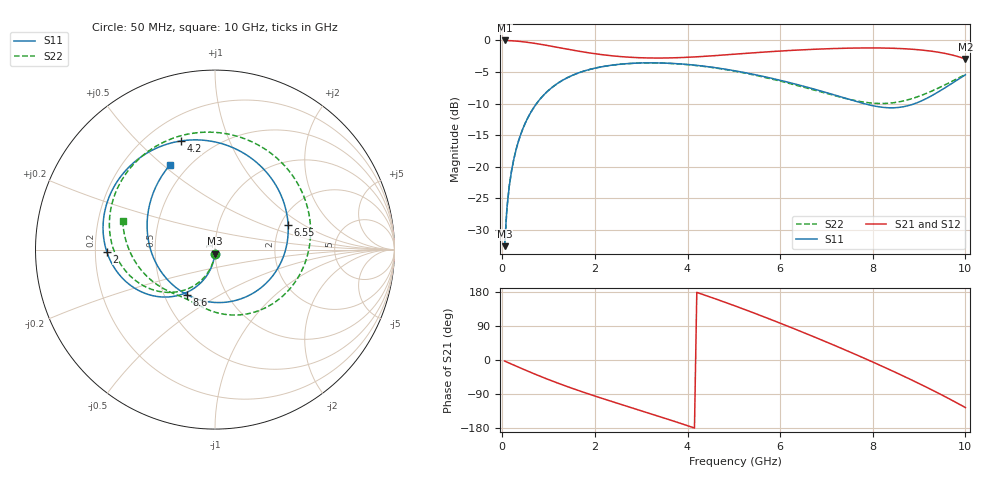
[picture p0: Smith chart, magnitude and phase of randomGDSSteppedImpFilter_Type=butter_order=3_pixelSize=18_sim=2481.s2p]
! freq	dB(S11)	phase(S11)	dB(S12)	phase(S12)
!  dB(S21)	phase(S21)	dB(S22)	phase(S22)
!S-par simulation data
#  GHz  S  DB  R 50
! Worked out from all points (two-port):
!   200 points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, 50 MHz to 10 GHz, reference 50 ohm
!   highest |S21| = -0.01 dB at 50 MHz (marker M1); lowest = -2.9 dB at 10 GHz (marker M2)
!   |S21| within 3 dB of the highest: start of sweep to end of sweep
!   lowest |S11| = -32.6 dB at 50 MHz (marker M3), VSWR 1.05, Z = 49.8 - j2.34 ohm
!   |S11| at or under -10 dB: start of sweep to 740.1 MHz; 7.808 GHz to 8.908 GHz (1.1 GHz wide, 13.2 % of centre)
!   |S22| runs from -32.6 to -3.6 dB; largest |S21 - S12| = 0
!   S11 on the Smith chart (normalised r, x): 50 MHz: 1.00, -0.05; 2 GHz: 0.25, -0.01; 4.2 GHz: 0.33, +0.68; 6.55 GHz: 2.21, +0.74; 8.6 GHz: 0.65, -0.36; 10 GHz: 0.40, +0.53
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0.05  -32.57 -92.7  -0.01 -2.8  -0.01 -2.8  -32.57 -93.0
0.1  -26.58 -95.5  -0.02 -5.5  -0.02 -5.5  -26.58 -96.1
0.2  -20.64 -100.7  -0.05 -10.9  -0.05 -10.9  -20.64 -102.0
0.5  -13.02 -115.8  -0.26 -26.8  -0.26 -26.8  -13.03 -118.9
1.1  -7.29 -143.6  -0.97 -56.4  -0.97 -56.4  -7.30 -150.5
1.75  -4.88 -169.8  -1.83 -84.9  -1.83 -84.9  -4.89 178.7
2  -4.39 -179.0  -2.11 -95.1  -2.11 -95.1  -4.40 167.5
2.65  -3.70 158.6  -2.61 -120.5  -2.61 -120.5  -3.71 139.2
3.4  -3.56 133.9  -2.79 -149.4  -2.79 -149.4  -3.58 106.3
4.2  -3.95 107.5  -2.59 178.4  -2.59 178.4  -3.98 69.0
5.05  -4.84 78.4  -2.16 141.6  -2.16 141.6  -4.91 25.8
5.85  -6.05 48.5  -1.75 104.4  -1.75 104.4  -6.17 -16.7
6.55  -7.34 18.5  -1.46 70.2  -1.46 70.2  -7.50 -52.7
6.7  -7.64 11.3  -1.41 62.7  -1.41 62.7  -7.80 -59.9
7.6  -9.58 -40.4  -1.21 16.2  -1.21 16.2  -9.50 -97.6
8  -10.33 -69.8  -1.19 -5.3  -1.19 -5.3  -9.93 -110.8
8.35  -10.67 -99.3  -1.22 -24.7  -1.22 -24.7  -9.94 -121.4
8.6  -10.57 -122.0  -1.29 -38.8  -1.29 -38.8  -9.68 -129.1
8.95  -9.89 -154.4  -1.45 -59.2  -1.45 -59.2  -8.96 -141.5
9.3  -8.64 174.5  -1.74 -80.3  -1.74 -80.3  -7.93 -156.6
9.65  -7.08 145.5  -2.20 -102.4  -2.20 -102.4  -6.70 -175.1
10  -5.44 118.0  -2.94 -125.6  -2.94 -125.6  -5.38 163.0
